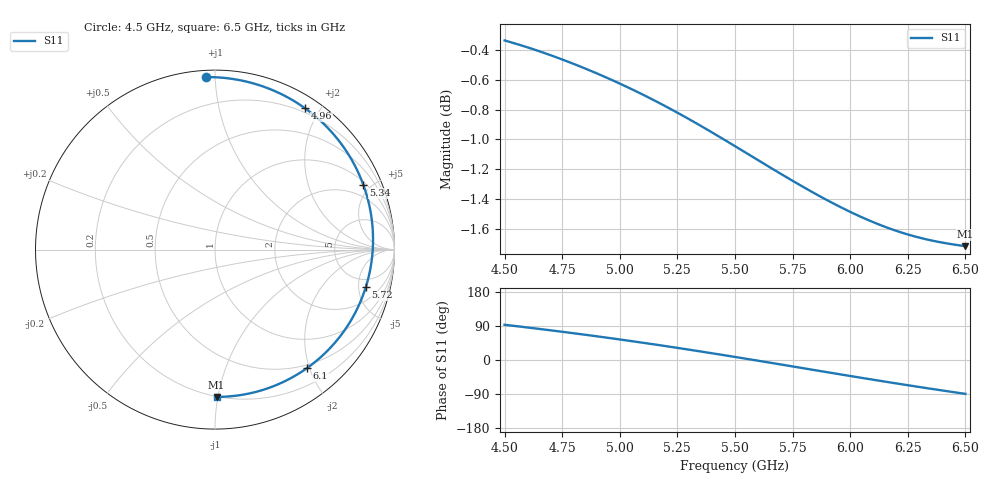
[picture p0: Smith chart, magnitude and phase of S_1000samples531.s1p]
! TOUCHSTONE file generated by CST MICROWAVE STUDIO
! Date and time: Fri Oct 28 11:56:40 2022
! Project name: L.cst
! Parameters = {Di=1.27; Epsilon_r=1.56; InnerDiameter=1.27; Length=2; Lf=10; Lg=60; OuterConductorThickness=0.2921; OuterDiameter=3.6; Wf=3; Wp=41.2; de=1.5; df=6.8; g=0.8; gx=2.44455; gy=3.33935; h=2.34; hf=1.524; px=8.17921; py=9.17585; w=9.7; wx=5.73466; wy=5.8365}
! Header version: 2018
! Port assignment regex: !\s*Touchstone port\s*([0-9]+)\s*=\s*(CST MWS port|CST DS port)\s*([0-9]+|Zmin|Zmax)\s*\(\"(.*)\"\)(\s*mode\s*([0-9]+))?.*
! Touchstone port assignment:
! Touchstone port 1 = CST MWS port 1 ("")
# GHz S DB R 50
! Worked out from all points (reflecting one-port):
!   101 points, 4.5 GHz to 6.5 GHz, reference 50 ohm
!   lowest |S11| = -1.7 dB at 6.5 GHz (marker M1), VSWR 10.14, Z = 9.87 - j49.6 ohm
!   phase of S11 starts at 93 deg and turns -182 deg over the sweep
!   S11 on the Smith chart (normalised r, x): 4.5 GHz: 0.04, +0.95; 4.96 GHz: 0.15, +1.81; 5.34 GHz: 1.17, +4.51; 5.72 GHz: 3.62, -6.04; 6.1 GHz: 0.45, -1.96; 6.5 GHz: 0.20, -0.99
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4.5  -0.33 92.9
4.58  -0.37 87.2
4.64  -0.40 82.8
4.76  -0.47 73.7
4.86  -0.53 65.8
4.96  -0.60 57.6
5  -0.62 54.2
5.12  -0.71 43.8
5.2  -0.78 36.6
5.26  -0.83 31.1
5.34  -0.90 23.5
5.42  -0.97 15.9
5.5  -1.05 8.1
5.6  -1.14 -1.9
5.66  -1.20 -7.9
5.72  -1.25 -14.0
5.76  -1.29 -18.0
5.82  -1.34 -24.1
5.88  -1.39 -30.1
5.94  -1.44 -36.2
6  -1.49 -42.2
6.1  -1.56 -52.1
6.18  -1.60 -59.9
6.26  -1.64 -67.5
6.32  -1.67 -73.1
6.38  -1.69 -78.6
6.44  -1.70 -84.0
6.5  -1.72 -89.4
